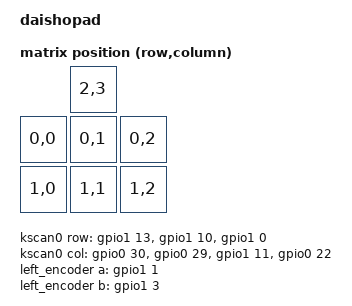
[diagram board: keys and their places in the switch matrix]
/*
 * Copyright (c) 2020 The ZMK Contributors
 *
 * SPDX-License-Identifier: MIT
 */

/dts-v1/;
#include <nordic/nrf52840_qiaa.dtsi>
#include <dt-bindings/zmk/matrix-transform.h>

/ {
	model = "daishopad";
	compatible = "daishopad";

	chosen {
		zephyr,code-partition = &code_partition;
		zephyr,sram = &sram0;
		zephyr,flash = &flash0;
		zmk,kscan = &kscan0;
        zmk,matrix_transform = &default_transform;
	};
 
	kscan0: kscan {
		compatible = "zmk,kscan-gpio-matrix";
		label = "KSCAN";
		diode-direction = "col2row";
		row-gpios
			= <&gpio1 13 (GPIO_ACTIVE_HIGH | GPIO_PULL_DOWN)>
			, <&gpio1 10 (GPIO_ACTIVE_HIGH | GPIO_PULL_DOWN)>
			, <&gpio1  0 (GPIO_ACTIVE_HIGH | GPIO_PULL_DOWN)>
			;
		col-gpios
			= <&gpio0 30 GPIO_ACTIVE_HIGH>
			, <&gpio0 29 GPIO_ACTIVE_HIGH>
			, <&gpio1 11 GPIO_ACTIVE_HIGH>
			, <&gpio0 22 GPIO_ACTIVE_HIGH>
			;
	};

	default_transform: keymap_transform_0 {
        compatible = "zmk,matrix-transform";
        columns = <4>;
        rows = <3>;
        map = <
		RC(2,3)

RC(0,0) RC(0,1) RC(0,2)
RC(1,0) RC(1,1) RC(1,2)
        >;
    };

	sensors {
    	compatible = "zmk,keymap-sensors";
    	sensors = <&left_encoder>;
	};

	left_encoder: encoder_left {
        compatible = "alps,ec11";
        label = "LEFT_ENCODER";
        a-gpios = <&gpio1  1 (GPIO_ACTIVE_HIGH | GPIO_PULL_UP)>;
        b-gpios = <&gpio1  3 (GPIO_ACTIVE_HIGH | GPIO_PULL_UP)>;
        resolution = <2>;
    };

	vbatt {
		compatible = "zmk,battery-voltage-divider";
		label = "BATTERY";
		io-channels = <&adc 1>;
		output-ohms = <2000000>;
		full-ohms = <(2000000 + 1300000)>;
	};
};

&adc {
	status = "okay";
};

&gpio0 {
	status = "okay";
};

&gpio1 {
	status = "okay";
};
&usbd {
	status = "okay";
};

&spi1 {
  compatible = "nordic,nrf-spim";
  status = "okay";
  mosi-pin = <5>;
  // Unused pins, needed for SPI definition, but not used by the ws2812 driver itself.
  sck-pin = <6>;
  miso-pin = <8>;
};


&flash0 {
	/*
	 * For more information, see:
	 * http://docs.zephyrproject.org/latest/devices/dts/flash_partitions.html
	 */
	partitions {
		compatible = "fixed-partitions";
		#address-cells = <1>;
		#size-cells = <1>;

		sd_partition: partition@0 {
			label = "softdevice";
			reg = <0x00000000 0x00026000>;
		};
		code_partition: partition@26000 {
			label = "code_partition";
			reg = <0x00026000 0x000c6000>;
		};

		/*
		 * The flash starting at 0x000ec000 and ending at
		 * 0x000f3fff is reserved for use by the application.
		 */

		/*
		 * Storage partition will be used by FCB/LittleFS/NVS
		 * if enabled.
		 */
		storage_partition: partition@ec000 {
			label = "storage";
			reg = <0x000ec000 0x00008000>;
		};

		boot_partition: partition@f4000 {
			label = "adafruit_boot";
			reg = <0x000f4000 0x0000c000>;
		};
	};
};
